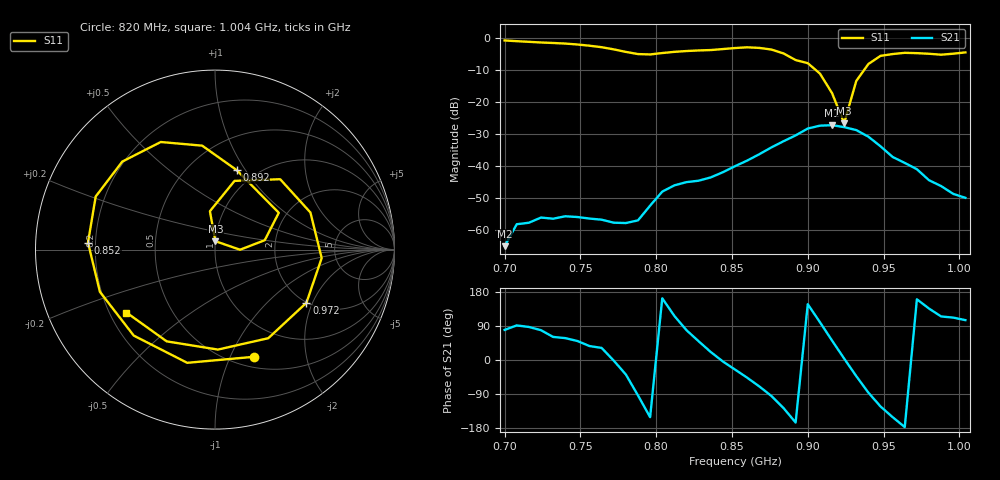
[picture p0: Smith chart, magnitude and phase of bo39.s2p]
# Hz S RI R 50
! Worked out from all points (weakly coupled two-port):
!   39 points, 700 MHz to 1.004 GHz, reference 50 ohm
!   highest |S21| = -27.18 dB at 916 MHz (marker M1); lowest = -65.1 dB at 700 MHz (marker M2)
!   lowest |S11| = -26.6 dB at 924 MHz (marker M3), VSWR 1.10, Z = 50 + j4.69 ohm
!   |S11| at or under -10 dB: 905.6 MHz to 937 MHz (31.43 MHz wide, 3.41 % of centre)
!   S12 and S22 are empty: the file has one direction only
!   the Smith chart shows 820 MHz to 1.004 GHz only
!   S11 on the Smith chart (normalised r, x): 820 MHz: 0.62, -1.24; 852 MHz: 0.17, +0.03; 892 MHz: 0.81, +0.91; 972 MHz: 1.99, -1.80; 1.004 GHz: 0.27, -0.30
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7e8  0.7686 0.5268  0.000102 0.000545  0 0  0 0
7.08e8  0.8621 0.284  -2.73e-05 0.00122  0 0  0 0
7.24e8  0.8253 -0.2613  0.000306 0.00153  0 0  0 0
7.4e8  0.4427 -0.7055  0.00087 0.00138  0 0  0 0
7.56e8  -0.2013 -0.7442  0.0012 0.0009  0 0  0 0
7.72e8  -0.6519 -0.1775  0.00129 -3.64e-05  0 0  0 0
7.8e8  -0.5651 0.2456  0.001 -0.000793  0 0  0 0
7.88e8  -0.1974 0.535  -8.65e-05 -0.00141  0 0  0 0
8.04e8  0.5819 0.1065  -0.0038 0.00118  0 0  0 0
8.2e8  0.2195 -0.597  0.00111 0.00549  0 0  0 0
8.36e8  -0.4527 -0.4792  0.0062 0.00239  0 0  0 0
8.52e8  -0.7076 0.039  0.009 -0.00424  0 0  0 0
8.76e8  -0.3022 0.5995  -0.00168 -0.0195  0 0  0 0
8.92e8  0.1203 0.4433  -0.0292 -0.00784  0 0  0 0
9.08e8  0.2773 0.0524  -0.00741 0.0423  0 0  0 0
9.16e8  0.1396 -0.000729  0.0272 0.0342  0 0  0 0
9.24e8  0.00237 0.0468  0.0407 0.00274  0 0  0 0
9.32e8  -0.0284 0.2138  0.027 -0.0248  0 0  0 0
9.56e8  0.5317 0.2066  -0.0121 -0.00678  0 0  0 0
9.72e8  0.5094 -0.2963  -0.0084 0.00302  0 0  0 0
9.88e8  0.0159 -0.557  -0.00204 0.0044  0 0  0 0
1.004e9  -0.4936 -0.3505  -0.000834 0.00307  0 0  0 0
